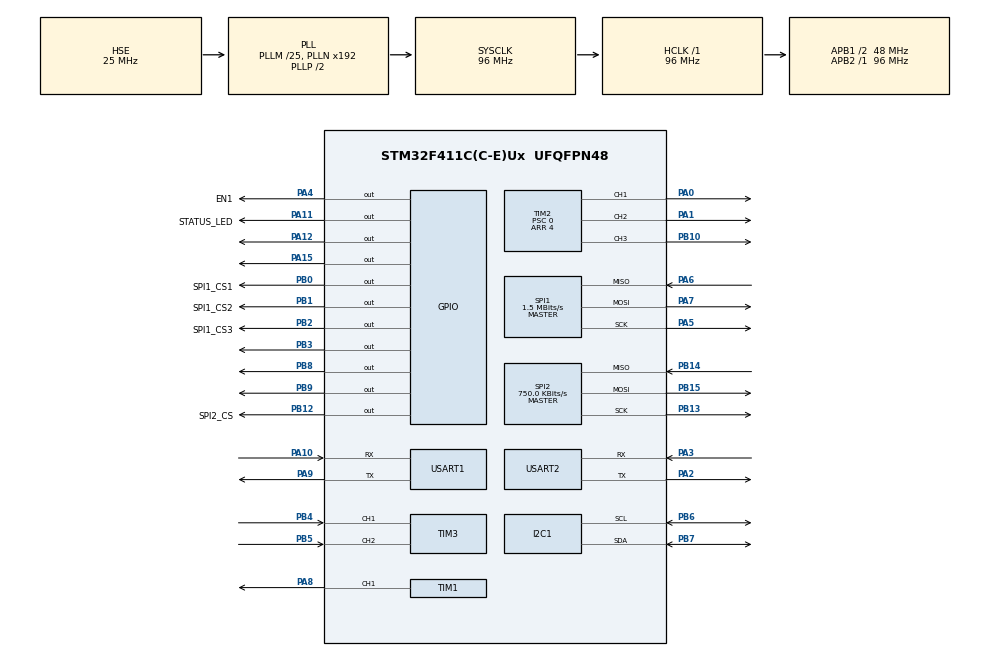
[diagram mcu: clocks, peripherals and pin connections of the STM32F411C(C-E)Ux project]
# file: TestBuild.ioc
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Mcu.Family=STM32F4
Mcu.Name=STM32F411C(C-E)Ux
Mcu.Package=UFQFPN48
NVIC.PriorityGroup=NVIC_PRIORITYGROUP_4
NVIC.USART1_IRQn=true\:0\:0\:false\:false\:true\:true\:true\:true
NVIC.USART2_IRQn=true\:0\:0\:false\:false\:true\:true\:true\:true
PA0-WKUP.Signal=S_TIM2_CH1_ETR
PA1.Signal=S_TIM2_CH2
PA10.Mode=Asynchronous
PA10.Signal=USART1_RX
PA11.GPIO_Label=STATUS_LED
PA11.Signal=GPIO_Output
PA12.Signal=GPIO_Output
PA13.Mode=Serial_Wire
PA13.Signal=SYS_JTMS-SWDIO
PA14.Mode=Serial_Wire
PA14.Signal=SYS_JTCK-SWCLK
PA15.Signal=GPIO_Output
PA2.Mode=Asynchronous
PA2.Signal=USART2_TX
PA3.Mode=Asynchronous
PA3.Signal=USART2_RX
PA4.GPIO_Label=EN1
PA4.Signal=GPIO_Output
PA5.Mode=Full_Duplex_Master
PA5.Signal=SPI1_SCK
PA6.Mode=Full_Duplex_Master
PA6.Signal=SPI1_MISO
PA7.Mode=Full_Duplex_Master
PA7.Signal=SPI1_MOSI
PA8.Signal=S_TIM1_CH1
PA9.Mode=Asynchronous
PA9.Signal=USART1_TX
PB0.GPIO_Label=SPI1_CS1
PB0.Signal=GPIO_Output
PB1.GPIO_Label=SPI1_CS2
PB1.Signal=GPIO_Output
PB10.Signal=S_TIM2_CH3
PB12.GPIO_Label=SPI2_CS
PB12.Signal=GPIO_Output
PB13.Mode=Full_Duplex_Master
PB13.Signal=SPI2_SCK
PB14.Mode=Full_Duplex_Master
PB14.Signal=SPI2_MISO
PB15.Mode=Full_Duplex_Master
PB15.Signal=SPI2_MOSI
PB2.GPIO_Label=SPI1_CS3
PB2.Signal=GPIO_Output
PB3.Signal=GPIO_Output
PB4.Signal=S_TIM3_CH1
PB5.Signal=S_TIM3_CH2
PB6.Mode=I2C
PB6.Signal=I2C1_SCL
PB7.Mode=I2C
PB7.Signal=I2C1_SDA
PB8.Signal=GPIO_Output
PB9.Signal=GPIO_Output
PH0\ -\ OSC_IN.Mode=HSE-External-Oscillator
PH0\ -\ OSC_IN.Signal=RCC_OSC_IN
PH1\ -\ OSC_OUT.Mode=HSE-External-Oscillator
PH1\ -\ OSC_OUT.Signal=RCC_OSC_OUT
ProjectManager.HeapSize=0x200
ProjectManager.StackSize=0x400
ProjectManager.TargetToolchain=STM32CubeIDE
RCC.48MHZClocksFreq_Value=48000000
RCC.AHBFreq_Value=96000000
RCC.APB1CLKDivider=RCC_HCLK_DIV2
RCC.APB1Freq_Value=48000000
RCC.APB1TimFreq_Value=96000000
RCC.APB2Freq_Value=96000000
RCC.APB2TimFreq_Value=96000000
RCC.CortexFreq_Value=96000000
RCC.HCLKFreq_Value=96000000
RCC.HSE_VALUE=25000000
RCC.HSI_VALUE=16000000
RCC.LSE_VALUE=32768
RCC.PLLM=25
RCC.PLLSourceVirtual=RCC_PLLSOURCE_HSE
RCC.SYSCLKFreq_VALUE=96000000
RCC.SYSCLKSource=RCC_SYSCLKSOURCE_PLLCLK
RCC.VCOOutputFreq_Value=192000000
SH.S_TIM1_CH1.0=TIM1_CH1,PWM Generation1 CH1
SH.S_TIM2_CH1_ETR.0=TIM2_CH1,PWM Generation1 CH1
SH.S_TIM2_CH2.0=TIM2_CH2,PWM Generation2 CH2
SH.S_TIM2_CH3.0=TIM2_CH3,PWM Generation3 CH3
SH.S_TIM3_CH1.0=TIM3_CH1,Encoder_Interface
SH.S_TIM3_CH2.0=TIM3_CH2,Encoder_Interface
SPI1.BaudRatePrescaler=SPI_BAUDRATEPRESCALER_64
SPI1.CalculateBaudRate=1.5 MBits/s
SPI1.Direction=SPI_DIRECTION_2LINES
SPI1.Mode=SPI_MODE_MASTER
SPI1.VirtualType=VM_MASTER
SPI2.BaudRatePrescaler=SPI_BAUDRATEPRESCALER_64
SPI2.CalculateBaudRate=750.0 KBits/s
SPI2.Direction=SPI_DIRECTION_2LINES
SPI2.Mode=SPI_MODE_MASTER
SPI2.VirtualType=VM_MASTER
TIM1.Channel-PWM\ Generation1\ CH1=TIM_CHANNEL_1
TIM1.Prescaler=6
TIM1.Pulse-PWM\ Generation1\ CH1=32768
TIM2.Channel-PWM\ Generation1\ CH1=TIM_CHANNEL_1
TIM2.Channel-PWM\ Generation2\ CH2=TIM_CHANNEL_2
TIM2.Channel-PWM\ Generation3\ CH3=TIM_CHANNEL_3
TIM2.Period=4
TIM2.Prescaler=0
TIM2.Pulse-PWM\ Generation3\ CH3=2
USART1.VirtualMode=VM_ASYNC
USART2.VirtualMode=VM_ASYNC
VP_TIM2_VS_ClockSourceINT.Mode=Internal
board=custom

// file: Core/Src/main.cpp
/* USER CODE BEGIN Header */
/**
  ******************************************************************************
  * @file           : main.cpp
  * @brief          : Main program body
  ******************************************************************************
  * @attention
  *
  * Copyright (c) 2023 STMicroelectronics.
  * All rights reserved.
  *
  * This software is licensed under terms that can be found in the LICENSE file
  * in the root directory of this software component.
  * If no LICENSE file comes with this software, it is provided AS-IS.
  *
  ******************************************************************************
  */
/* USER CODE END Header */
#include "main.h"

/* USER CODE BEGIN Includes */
#include <stdio.h>
#include "bno055.h"
#include "tmc4210.h"
#include  "dcMotorDriver.h"
/* USER CODE END Includes */

I2C_HandleTypeDef hi2c1;

SPI_HandleTypeDef hspi1;
SPI_HandleTypeDef hspi2;

TIM_HandleTypeDef htim1;
TIM_HandleTypeDef htim2;
TIM_HandleTypeDef htim3;

UART_HandleTypeDef huart1;
UART_HandleTypeDef huart2;

/* USER CODE BEGIN PV */
char recvBuf[8] = {0};
char test = 0;
/* USER CODE END PV */

void SystemClock_Config(void);
static void MX_GPIO_Init(void);
static void MX_TIM2_Init(void);
static void MX_USART1_UART_Init(void);
static void MX_SPI1_Init(void);
static void MX_I2C1_Init(void);
static void MX_SPI2_Init(void);
static void MX_TIM1_Init(void);
static void MX_USART2_UART_Init(void);
static void MX_TIM3_Init(void);

int main(void)
{
  /* USER CODE BEGIN 1 */
	//HAL_UART_Receive_IT(&huart2, (uint8_t*)recvBuf, 1);
  /* USER CODE END 1 */

  /* MCU Configuration--------------------------------------------------------*/

  /* Reset of all peripherals, Initializes the Flash interface and the Systick. */
  HAL_Init();

  /* Configure the system clock */
  SystemClock_Config();

  /* Initialize all configured peripherals */
  MX_GPIO_Init();
  MX_TIM2_Init();
  MX_USART1_UART_Init();
  MX_SPI1_Init();
  MX_I2C1_Init();
  MX_SPI2_Init();
  MX_TIM1_Init();
  MX_USART2_UART_Init();
  MX_TIM3_Init();
  /* USER CODE BEGIN 2 */
/*!
 * bno055 device address and opmode register address
 * 0x08 -> data to be written into opmode reg. to configure in IMU mode
 */
  HAL_TIM_PWM_Start(&htim1, TIM_CHANNEL_1);
  uint32_t IMU_opmode_addr = 0x3D;
  uint8_t  IMU_mode[1] = {0x08};

  //!uart transmit buffer
  char uart_buf1[128];

  //!create IMU object & associated vars
  bno055* imu;
  imu = new bno055(&hi2c1);
  imu->write(IMU_opmode_addr, IMU_mode, 1);
  int16_t eulx = 0;
  int16_t euly = 0;
  int16_t eulz = 0;

  //!create tmc4210 object & associated vars
  tmc4210* stepper;
  stepper = new tmc4210(&hspi1, &htim1, SPI1_CS1_Pin, EN1_Pin);
  stepper->setup();

  tmc4210* stepper2;
  stepper2 = new tmc4210(&hspi1, &htim1, SPI1_CS2_Pin, GPIO_PIN_12);
  stepper2->setup();

  //!create dcMotor object using struct
  /*
  dcmotor_t panMotor = {TIM_CHANNEL_1, TIM_CHANNEL_2, 0, &htim2};
  enable(panMotor);
  */

  /* USER CODE END 2 */

  /* Infinite loop */
  /* USER CODE BEGIN WHILE */
  int32_t pos = 0;
  int32_t pos2 = 0;
  int32_t curPos = 0;
  int32_t duty = 0;
  while (1)
  {
    /* USER CODE END WHILE */

    /* USER CODE BEGIN 3 */
	  //HAL_UART_Receive_IT(&huart2, (uint8_t*)recvBuf, 1);
	//HAL_UART_Receive(&huart2, recvBuf, 4, 100);
	eulx = imu->read_eul_x();
	euly = imu->read_eul_y();
	eulz = imu->read_eul_z();

	stepper->setPos(pos);
	stepper2->setPos(pos2);
	curPos = stepper->getPos();

	uint16_t uart_buf_len = sprintf(uart_buf1, "Heading: %d deg \r\nRoll: %d deg\r\nPitch: %d deg\r\nTest: %d\r\n\n", eulx, euly, eulz, test);
	HAL_UART_Transmit(&huart1, (uint8_t*)uart_buf1, uart_buf_len, 400);
	HAL_Delay(100);
/*
	setDuty(panMotor, 4000);
	HAL_Delay(500);
	setDuty(panMotor, -4000);
	HAL_Delay(500);
	*/

	/*
	if(eulx == 0 || euly == 0 || eulz == 0){
		HAL_GPIO_WritePin(GPIOA, STATUS_LED_Pin, GPIO_PIN_SET);
	}else{
		HAL_GPIO_WritePin(GPIOA, STATUS_LED_Pin, GPIO_PIN_RESET);
	}
	*/

  }
  /* USER CODE END 3 */
}

void SystemClock_Config(void)
{
  RCC_OscInitTypeDef RCC_OscInitStruct = {0};
  RCC_ClkInitTypeDef RCC_ClkInitStruct = {0};

  /** Configure the main internal regulator output voltage
  */
  __HAL_RCC_PWR_CLK_ENABLE();
  __HAL_PWR_VOLTAGESCALING_CONFIG(PWR_REGULATOR_VOLTAGE_SCALE1);

  /** Initializes the RCC Oscillators according to the specified parameters
  * in the RCC_OscInitTypeDef structure.
  */
  RCC_OscInitStruct.OscillatorType = RCC_OSCILLATORTYPE_HSE;
  RCC_OscInitStruct.HSEState = RCC_HSE_ON;
  RCC_OscInitStruct.PLL.PLLState = RCC_PLL_ON;
  RCC_OscInitStruct.PLL.PLLSource = RCC_PLLSOURCE_HSE;
  RCC_OscInitStruct.PLL.PLLM = 25;
  RCC_OscInitStruct.PLL.PLLN = 192;
  RCC_OscInitStruct.PLL.PLLP = RCC_PLLP_DIV2;
  RCC_OscInitStruct.PLL.PLLQ = 4;
  if (HAL_RCC_OscConfig(&RCC_OscInitStruct) != HAL_OK)
  {
    Error_Handler();
  }

  /** Initializes the CPU, AHB and APB buses clocks
  */
  RCC_ClkInitStruct.ClockType = RCC_CLOCKTYPE_HCLK|RCC_CLOCKTYPE_SYSCLK
                              |RCC_CLOCKTYPE_PCLK1|RCC_CLOCKTYPE_PCLK2;
  RCC_ClkInitStruct.SYSCLKSource = RCC_SYSCLKSOURCE_PLLCLK;
  RCC_ClkInitStruct.AHBCLKDivider = RCC_SYSCLK_DIV1;
  RCC_ClkInitStruct.APB1CLKDivider = RCC_HCLK_DIV2;
  RCC_ClkInitStruct.APB2CLKDivider = RCC_HCLK_DIV1;

  if (HAL_RCC_ClockConfig(&RCC_ClkInitStruct, FLASH_LATENCY_3) != HAL_OK)
  {
    Error_Handler();
  }
}

static void MX_I2C1_Init(void)
{

  hi2c1.Instance = I2C1;
  hi2c1.Init.ClockSpeed = 100000;
  hi2c1.Init.DutyCycle = I2C_DUTYCYCLE_2;
  hi2c1.Init.OwnAddress1 = 0;
  hi2c1.Init.AddressingMode = I2C_ADDRESSINGMODE_7BIT;
  hi2c1.Init.DualAddressMode = I2C_DUALADDRESS_DISABLE;
  hi2c1.Init.OwnAddress2 = 0;
  hi2c1.Init.GeneralCallMode = I2C_GENERALCALL_DISABLE;
  hi2c1.Init.NoStretchMode = I2C_NOSTRETCH_DISABLE;
  if (HAL_I2C_Init(&hi2c1) != HAL_OK)
  {
    Error_Handler();
  }

}

static void MX_SPI1_Init(void)
{

  /* SPI1 parameter configuration*/
  hspi1.Instance = SPI1;
  hspi1.Init.Mode = SPI_MODE_MASTER;
  hspi1.Init.Direction = SPI_DIRECTION_2LINES;
  hspi1.Init.DataSize = SPI_DATASIZE_8BIT;
  hspi1.Init.CLKPolarity = SPI_POLARITY_LOW;
  hspi1.Init.CLKPhase = SPI_PHASE_1EDGE;
  hspi1.Init.NSS = SPI_NSS_SOFT;
  hspi1.Init.BaudRatePrescaler = SPI_BAUDRATEPRESCALER_64;
  hspi1.Init.FirstBit = SPI_FIRSTBIT_MSB;
  hspi1.Init.TIMode = SPI_TIMODE_DISABLE;
  hspi1.Init.CRCCalculation = SPI_CRCCALCULATION_DISABLE;
  hspi1.Init.CRCPolynomial = 10;
  if (HAL_SPI_Init(&hspi1) != HAL_OK)
  {
    Error_Handler();
  }

}

static void MX_SPI2_Init(void)
{

  /* SPI2 parameter configuration*/
  hspi2.Instance = SPI2;
  hspi2.Init.Mode = SPI_MODE_MASTER;
  hspi2.Init.Direction = SPI_DIRECTION_2LINES;
  hspi2.Init.DataSize = SPI_DATASIZE_8BIT;
  hspi2.Init.CLKPolarity = SPI_POLARITY_LOW;
  hspi2.Init.CLKPhase = SPI_PHASE_1EDGE;
  hspi2.Init.NSS = SPI_NSS_SOFT;
  hspi2.Init.BaudRatePrescaler = SPI_BAUDRATEPRESCALER_64;
  hspi2.Init.FirstBit = SPI_FIRSTBIT_MSB;
  hspi2.Init.TIMode = SPI_TIMODE_DISABLE;
  hspi2.Init.CRCCalculation = SPI_CRCCALCULATION_DISABLE;
  hspi2.Init.CRCPolynomial = 10;
  if (HAL_SPI_Init(&hspi2) != HAL_OK)
  {
    Error_Handler();
  }

}

static void MX_TIM1_Init(void)
{

  TIM_MasterConfigTypeDef sMasterConfig = {0};
  TIM_OC_InitTypeDef sConfigOC = {0};
  TIM_BreakDeadTimeConfigTypeDef sBreakDeadTimeConfig = {0};

  htim1.Instance = TIM1;
  htim1.Init.Prescaler = 0;
  htim1.Init.CounterMode = TIM_COUNTERMODE_UP;
  htim1.Init.Period = 4;
  htim1.Init.ClockDivision = TIM_CLOCKDIVISION_DIV1;
  htim1.Init.RepetitionCounter = 0;
  htim1.Init.AutoReloadPreload = TIM_AUTORELOAD_PRELOAD_DISABLE;
  if (HAL_TIM_PWM_Init(&htim1) != HAL_OK)
  {
    Error_Handler();
  }
  sMasterConfig.MasterOutputTrigger = TIM_TRGO_RESET;
  sMasterConfig.MasterSlaveMode = TIM_MASTERSLAVEMODE_DISABLE;
  if (HAL_TIMEx_MasterConfigSynchronization(&htim1, &sMasterConfig) != HAL_OK)
  {
    Error_Handler();
  }
  sConfigOC.OCMode = TIM_OCMODE_PWM1;
  sConfigOC.Pulse = 2;
  sConfigOC.OCPolarity = TIM_OCPOLARITY_HIGH;
  sConfigOC.OCNPolarity = TIM_OCNPOLARITY_HIGH;
  sConfigOC.OCFastMode = TIM_OCFAST_DISABLE;
  sConfigOC.OCIdleState = TIM_OCIDLESTATE_RESET;
  sConfigOC.OCNIdleState = TIM_OCNIDLESTATE_RESET;
  if (HAL_TIM_PWM_ConfigChannel(&htim1, &sConfigOC, TIM_CHANNEL_1) != HAL_OK)
  {
    Error_Handler();
  }
  sBreakDeadTimeConfig.OffStateRunMode = TIM_OSSR_DISABLE;
  sBreakDeadTimeConfig.OffStateIDLEMode = TIM_OSSI_DISABLE;
  sBreakDeadTimeConfig.LockLevel = TIM_LOCKLEVEL_OFF;
  sBreakDeadTimeConfig.DeadTime = 0;
  sBreakDeadTimeConfig.BreakState = TIM_BREAK_DISABLE;
  sBreakDeadTimeConfig.BreakPolarity = TIM_BREAKPOLARITY_HIGH;
  sBreakDeadTimeConfig.AutomaticOutput = TIM_AUTOMATICOUTPUT_DISABLE;
  if (HAL_TIMEx_ConfigBreakDeadTime(&htim1, &sBreakDeadTimeConfig) != HAL_OK)
  {
    Error_Handler();
  }
  HAL_TIM_MspPostInit(&htim1);

}

static void MX_TIM2_Init(void)
{

  TIM_ClockConfigTypeDef sClockSourceConfig = {0};
  TIM_MasterConfigTypeDef sMasterConfig = {0};
  TIM_OC_InitTypeDef sConfigOC = {0};

  htim2.Instance = TIM2;
  htim2.Init.Prescaler = 0;
  htim2.Init.CounterMode = TIM_COUNTERMODE_UP;
  htim2.Init.Period = 4799;
  htim2.Init.ClockDivision = TIM_CLOCKDIVISION_DIV1;
  htim2.Init.AutoReloadPreload = TIM_AUTORELOAD_PRELOAD_DISABLE;
  if (HAL_TIM_Base_Init(&htim2) != HAL_OK)
  {
    Error_Handler();
  }
  sClockSourceConfig.ClockSource = TIM_CLOCKSOURCE_INTERNAL;
  if (HAL_TIM_ConfigClockSource(&htim2, &sClockSourceConfig) != HAL_OK)
  {
    Error_Handler();
  }
  if (HAL_TIM_PWM_Init(&htim2) != HAL_OK)
  {
    Error_Handler();
  }
  sMasterConfig.MasterOutputTrigger = TIM_TRGO_RESET;
  sMasterConfig.MasterSlaveMode = TIM_MASTERSLAVEMODE_DISABLE;
  if (HAL_TIMEx_MasterConfigSynchronization(&htim2, &sMasterConfig) != HAL_OK)
  {
    Error_Handler();
  }
  sConfigOC.OCMode = TIM_OCMODE_PWM1;
  sConfigOC.Pulse = 2500;
  sConfigOC.OCPolarity = TIM_OCPOLARITY_HIGH;
  sConfigOC.OCFastMode = TIM_OCFAST_DISABLE;
  if (HAL_TIM_PWM_ConfigChannel(&htim2, &sConfigOC, TIM_CHANNEL_1) != HAL_OK)
  {
    Error_Handler();
  }
  if (HAL_TIM_PWM_ConfigChannel(&htim2, &sConfigOC, TIM_CHANNEL_2) != HAL_OK)
  {
    Error_Handler();
  }
  sConfigOC.Pulse = 2;
  if (HAL_TIM_PWM_ConfigChannel(&htim2, &sConfigOC, TIM_CHANNEL_3) != HAL_OK)
  {
    Error_Handler();
  }
  HAL_TIM_MspPostInit(&htim2);

}

static void MX_TIM3_Init(void)
{

  TIM_Encoder_InitTypeDef sConfig = {0};
  TIM_MasterConfigTypeDef sMasterConfig = {0};

  htim3.Instance = TIM3;
  htim3.Init.Prescaler = 0;
  htim3.Init.CounterMode = TIM_COUNTERMODE_UP;
  htim3.Init.Period = 65535;
  htim3.Init.ClockDivision = TIM_CLOCKDIVISION_DIV1;
  htim3.Init.AutoReloadPreload = TIM_AUTORELOAD_PRELOAD_DISABLE;
  sConfig.EncoderMode = TIM_ENCODERMODE_TI1;
  sConfig.IC1Polarity = TIM_ICPOLARITY_RISING;
  sConfig.IC1Selection = TIM_ICSELECTION_DIRECTTI;
  sConfig.IC1Prescaler = TIM_ICPSC_DIV1;
  sConfig.IC1Filter = 0;
  sConfig.IC2Polarity = TIM_ICPOLARITY_RISING;
  sConfig.IC2Selection = TIM_ICSELECTION_DIRECTTI;
  sConfig.IC2Prescaler = TIM_ICPSC_DIV1;
  sConfig.IC2Filter = 0;
  if (HAL_TIM_Encoder_Init(&htim3, &sConfig) != HAL_OK)
  {
    Error_Handler();
  }
  sMasterConfig.MasterOutputTrigger = TIM_TRGO_RESET;
  sMasterConfig.MasterSlaveMode = TIM_MASTERSLAVEMODE_DISABLE;
  if (HAL_TIMEx_MasterConfigSynchronization(&htim3, &sMasterConfig) != HAL_OK)
  {
    Error_Handler();
  }

}

static void MX_USART1_UART_Init(void)
{

  huart1.Instance = USART1;
  huart1.Init.BaudRate = 115200;
  huart1.Init.WordLength = UART_WORDLENGTH_8B;
  huart1.Init.StopBits = UART_STOPBITS_1;
  huart1.Init.Parity = UART_PARITY_NONE;
  huart1.Init.Mode = UART_MODE_TX_RX;
  huart1.Init.HwFlowCtl = UART_HWCONTROL_NONE;
  huart1.Init.OverSampling = UART_OVERSAMPLING_16;
  if (HAL_UART_Init(&huart1) != HAL_OK)
  {
    Error_Handler();
  }

}

static void MX_USART2_UART_Init(void)
{

  huart2.Instance = USART2;
  huart2.Init.BaudRate = 115200;
  huart2.Init.WordLength = UART_WORDLENGTH_8B;
  huart2.Init.StopBits = UART_STOPBITS_1;
  huart2.Init.Parity = UART_PARITY_NONE;
  huart2.Init.Mode = UART_MODE_TX_RX;
  huart2.Init.HwFlowCtl = UART_HWCONTROL_NONE;
  huart2.Init.OverSampling = UART_OVERSAMPLING_16;
  if (HAL_UART_Init(&huart2) != HAL_OK)
  {
    Error_Handler();
  }

}

static void MX_GPIO_Init(void)
{
  GPIO_InitTypeDef GPIO_InitStruct = {0};

  /* GPIO Ports Clock Enable */
  __HAL_RCC_GPIOH_CLK_ENABLE();
  __HAL_RCC_GPIOA_CLK_ENABLE();
  __HAL_RCC_GPIOB_CLK_ENABLE();

  /*Configure GPIO pin Output Level */
  HAL_GPIO_WritePin(GPIOA, EN1_Pin|STATUS_LED_Pin|GPIO_PIN_12|GPIO_PIN_15, GPIO_PIN_RESET);

  /*Configure GPIO pin Output Level */
  HAL_GPIO_WritePin(GPIOB, SPI1_CS1_Pin|SPI1_CS2_Pin|SPI1_CS3_Pin|SPI2_CS_Pin
                          |GPIO_PIN_3|GPIO_PIN_8|GPIO_PIN_9, GPIO_PIN_RESET);

  /*Configure GPIO pins : EN1_Pin STATUS_LED_Pin PA12 PA15 */
  GPIO_InitStruct.Pin = EN1_Pin|STATUS_LED_Pin|GPIO_PIN_12|GPIO_PIN_15;
  GPIO_InitStruct.Mode = GPIO_MODE_OUTPUT_PP;
  GPIO_InitStruct.Pull = GPIO_NOPULL;
  GPIO_InitStruct.Speed = GPIO_SPEED_FREQ_LOW;
  HAL_GPIO_Init(GPIOA, &GPIO_InitStruct);

  /*Configure GPIO pins : SPI1_CS1_Pin SPI1_CS2_Pin SPI1_CS3_Pin SPI2_CS_Pin
                           PB3 PB8 PB9 */
  GPIO_InitStruct.Pin = SPI1_CS1_Pin|SPI1_CS2_Pin|SPI1_CS3_Pin|SPI2_CS_Pin
                          |GPIO_PIN_3|GPIO_PIN_8|GPIO_PIN_9;
  GPIO_InitStruct.Mode = GPIO_MODE_OUTPUT_PP;
  GPIO_InitStruct.Pull = GPIO_NOPULL;
  GPIO_InitStruct.Speed = GPIO_SPEED_FREQ_LOW;
  HAL_GPIO_Init(GPIOB, &GPIO_InitStruct);

}

/* USER CODE BEGIN 4 */
void HAL_UART_RxCpltCallback(UART_HandleTypeDef *huart){
	HAL_UART_Receive_IT(&huart2, (uint8_t*)recvBuf, 1);
	HAL_UART_Transmit(&huart1, (uint8_t*)recvBuf, 8, 400);
}
/* USER CODE END 4 */

void Error_Handler(void)
{
  __disable_irq();
  while (1)
  {
  }
}
